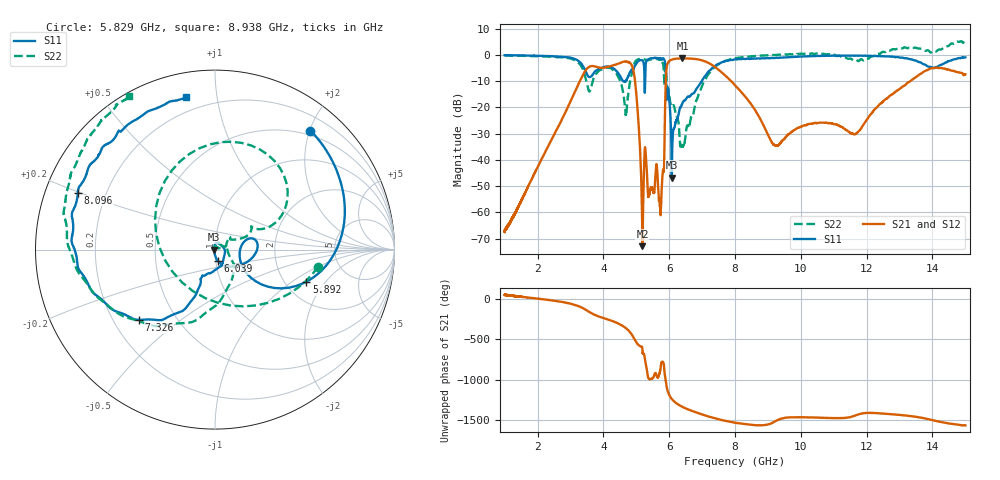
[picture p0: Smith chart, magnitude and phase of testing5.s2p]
# Hz S DB R 50
! CMT, S5180, 20087786, 22.2.4/1
! Date: 2023/11/23 ¤U¤È 03:37:17
! Data: Format (Calibration Info)
! Freq	S11:dB/Ang(F2 Pxt)	S21:dB/Ang(F2 Pxt)	S12:dB/Ang(F2 Pxt)	S22:dB/Ang(F2 Pxt)
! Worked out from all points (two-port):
!   14001 points, 1 GHz to 15 GHz, reference 50 ohm
!   highest |S21| = -1.33 dB at 6.404 GHz (marker M1); lowest = -72.9 dB at 5.188 GHz (marker M2)
!   |S21| within 3 dB of the highest: 4.218 GHz to 4.877 GHz (659 MHz wide, 14.5 % of centre); 5.928 GHz to 7.359 GHz (1.431 GHz wide, 21.5 % of centre)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
!   lowest |S11| = -46.7 dB at 6.08 GHz (marker M3), VSWR 1.01, Z = 49.5 + j0.0114 ohm
!   |S11| at or under -10 dB: 4.603 GHz to 4.684 GHz (81.05 MHz wide, 1.75 % of centre); 5.252383 GHz to 5.267053 GHz (14.67 MHz wide, 0.279 % of centre); 5.905 GHz to 6.992 GHz (1.087 GHz wide, 16.9 % of centre)
!   |S22| runs from -35.0 to 5.5 dB; largest |S21 - S12| = 0.011
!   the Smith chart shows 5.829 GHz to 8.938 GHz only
!   S11 on the Smith chart (normalised r, x): 5.829 GHz: 0.42, +2.01; 5.892 GHz: 2.60, -1.31; 6.039 GHz: 1.03, -0.13; 7.326 GHz: 0.30, -0.36; 8.096 GHz: 0.10, +0.20; 8.938 GHz: 0.12, +0.82
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1e9  -0.13 -31.4  -67.26 49.5  -67.46 50.7  -0.23 -37.1
2.451e9  -0.52 -93.9  -31.68 -19.6  -31.70 -19.6  -0.71 -99.7
3.334e9  -3.35 -158.9  -8.77 -105.1  -8.78 -105.1  -4.37 -165.8
4.332e9  -5.39 168.8  -3.87 77.1  -3.88 77.1  -6.10 179.8
4.842e9  -5.88 117.2  -3.49 -68.4  -3.49 -68.3  -8.34 -72.2
5.04e9  -2.67 -98.0  -20.90 161.4  -20.90 161.5  -1.79 -137.2
5.188e9  -2.11 -167.5  -72.92 95.8  -71.74 92.1  -1.68 -170.3
5.667e9  -1.24 111.3  -51.40 115.6  -51.27 114.5  -1.58 97.0
5.829e9  -1.41 51.3  -44.14 -75.1  -44.08 -75.2  -4.70 -9.5
5.892e9  -5.35 -19.3  -12.04 77.6  -12.04 77.6  -4.32 63.3
6.039e9  -23.53 -75.3  -1.99 -135.0  -1.98 -134.9  -18.55 28.0
6.08e9  -46.74 178.6  -1.78 -158.2  -1.78 -158.0  -19.82 35.0
6.404e9  -18.41 -93.3  -1.33 103.7  -1.34 103.9  -35.04 64.2
7.326e9  -4.76 -137.3  -4.06 -30.6  -4.06 -30.5  -5.30 -128.5
8e9  -1.70 165.6  -11.63 -91.5  -11.63 -91.4  -1.26 166.9
8.096e9  -1.65 157.4  -12.84 -97.4  -12.86 -97.3  -1.13 161.4
8.938e9  -1.28 100.7  -28.75 -119.4  -28.77 -118.7  -0.20 119.1
1.0334e10  -0.49 56.1  -26.29 -26.9  -26.31 -26.4  0.57 77.0
1.1524e10  -0.31 44.4  -29.95 -19.6  -29.92 -18.9  -1.49 -1.1
1.2667e10  -0.58 29.1  -16.07 16.6  -16.06 17.4  1.71 -130.4
1.3802e10  -3.92 12.2  -5.98 -41.8  -5.98 -41.2  1.56 -154.1
1.5e10  -0.96 33.6  -7.39 -124.0  -7.35 -123.3  5.49 -131.0
